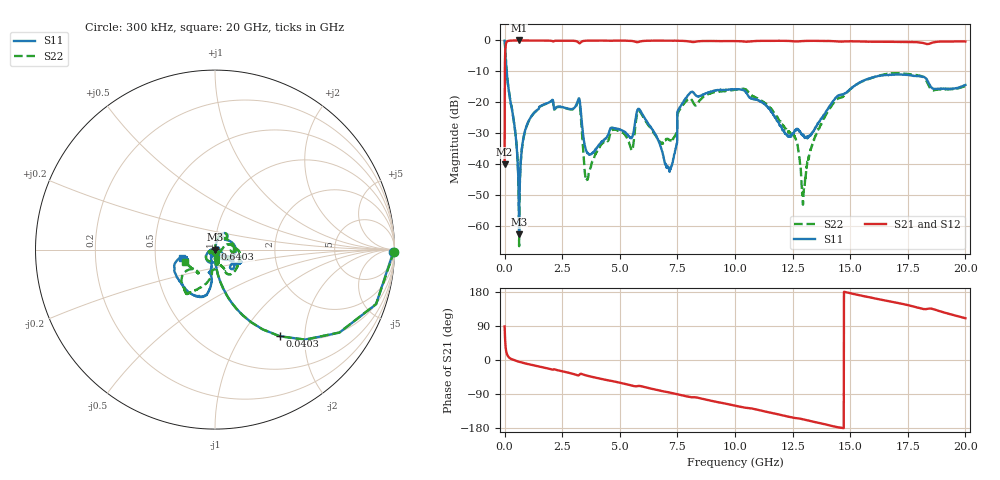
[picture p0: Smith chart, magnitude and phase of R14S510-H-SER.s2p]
!{R14S510}
!Johanson Technology Inc.
!www.johansontechnology.com
!Test Board Conditions:
!Substrate Type  RO4350B
!Substrate Thickness  20 mil
!Substrate Dk  3.66
!TL Type: GCPW
!TL Trace Width  36 mil
!TL Gap  12 mil
!Electrode orientation  Horizontal
!DUT TOPOLOGY	SERIES
!Mounting Pad LxW  26x36 mil
! Created Wed Nov 25 17:33:21 2020
! 2 Port Network Data from SP1.SP block
! freq  magS11  angS11  magS21  angS21  magS12  angS12  magS22  angS22
# khz S ma R 50
! decimated to every 10th point (10 MHz spacing) of the original 1 MHz Johanson file; values unchanged
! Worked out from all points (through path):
!   2001 points, 300 kHz to 20 GHz, reference 50 ohm
!   highest |S21| = 0.00 dB at 610.3 MHz (marker M1); lowest = -40.2 dB at 300 kHz (marker M2)
!   group delay of S21, straight-line fit = 34.7 ps
!   lowest |S11| = -62.9 dB at 630.3 MHz (marker M3), VSWR 1.00, Z = 50.1 + j0.0257 ohm
!   |S11| at or under -10 dB: 90.03 MHz to end of sweep
!   |S22| runs from -66.7 to 0.0 dB; largest |S21 - S12| = 0.017
!   S11 on the Smith chart (normalised r, x): 300 kHz: open; 40.3 MHz: 0.99, -1.51; 640.3 MHz: 1.00, +0.00; 20 GHz: 0.69, -0.07
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300  0.9936 -0.7  0.009821 88.6  0.00974 89.2  0.9971 -0.7
40300  0.6026 -53.2  0.7957 36.8  0.7965 36.8  0.6044 -53.1
120300  0.2388 -77.0  0.9703 12.9  0.9699 12.8  0.2397 -77.0
610300  0.003056 -84.0  0.9999 -4.5  0.9988 -4.5  0.003354 -98.3
630300  0.0007173 20.9  0.9989 -4.8  0.999 -4.8  0.0004631 -156.4
640300  0.002167 63.7  0.9989 -5.0  0.9991 -5.0  0.001716 97.6
940300  0.03974 78.6  0.9983 -9.7  0.9982 -9.6  0.039 81.9
1600300  0.08804 70.5  0.9948 -18.7  0.9952 -18.7  0.0874 71.7
3340300  0.05208 -58.1  0.9565 -36.7  0.9565 -36.7  0.03955 -67.9
3580300  0.01518 -54.7  0.9919 -41.4  0.9912 -41.4  0.005571 -163.3
4700300  0.03847 -118.9  0.9896 -56.0  0.991 -56.0  0.036 -156.6
5520300  0.02646 -100.8  0.9812 -67.4  0.9823 -67.4  0.01664 -127.9
5840300  0.07722 -120.4  0.9526 -68.4  0.9524 -68.4  0.0723 -126.5
6670300  0.02428 -176.1  0.992 -79.7  0.9921 -79.7  0.02488 -139.0
7180300  0.007958 123.1  0.9907 -86.1  0.9899 -86.1  0.02418 -92.9
7980300  0.1318 -37.3  0.9677 -97.1  0.9676 -97.1  0.1114 5.1
1.00003e7  0.1625 -24.6  0.976 -120.4  0.9761 -120.5  0.1588 -41.5
1.25503e7  0.03153 -111.4  0.9691 -152.6  0.9711 -152.6  0.0287 -98.0
1.29703e7  0.02859 -161.4  0.9777 -156.7  0.9788 -156.7  0.00293 63.9
1.33403e7  0.03189 -133.9  0.9854 -161.9  0.9865 -161.9  0.01942 -34.3
1.66703e7  0.2741 -108.8  0.951 155.3  0.945 155.0  0.2902 -122.0
2e7  0.1901 -165.8  0.9621 110.3  0.9625 110.4  0.1837 -157.2
